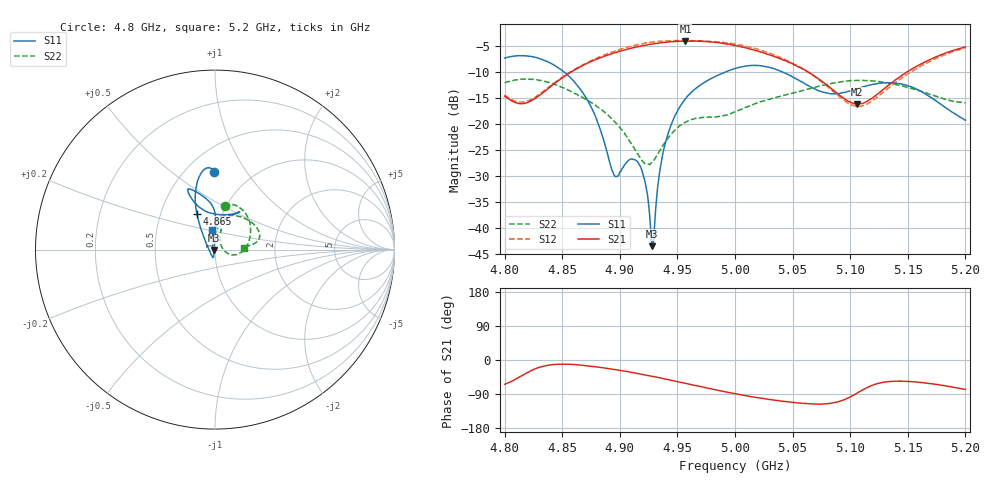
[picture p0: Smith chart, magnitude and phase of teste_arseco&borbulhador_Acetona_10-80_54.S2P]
! Network Analyzer HP8722D
! Hewlett-Packard
! Data name: Linha & Wilkinson
! Saver's name: Rodrigo Anjos
! Comments: Teste da utilização de aquisição
! continua pelo VNA HP8722D
! Time and date: 25/4/2025 15:43
!  Frequency  S11  S21  S12  S22
# HZ  S  MA R 50
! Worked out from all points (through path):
!   401 points, 4.8 GHz to 5.2 GHz, reference 50 ohm
!   highest |S21| = -3.95 dB at 4.957 GHz (marker M1); lowest = -16.1 dB at 5.106 GHz (marker M2)
!   lowest |S11| = -43.6 dB at 4.928 GHz (marker M3), VSWR 1.01, Z = 49.4 - j0.255 ohm
!   |S11| at or under -10 dB: 4.852 GHz to 4.991 GHz (139 MHz wide, 2.82 % of centre); 5.042 GHz to end of sweep
!   |S22| runs from -27.8 to -11.3 dB; largest |S21 - S12| = 1.2
!   S11 on the Smith chart (normalised r, x): 4.8 GHz: 0.68, +0.73; 4.865 GHz: 0.76, +0.32; 5.2 GHz: 0.94, +0.20
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4.8e9  0.4344 90.6  0.1865 -64.1  0.1914 69.5  0.25 77.3
4.821e9  0.4526 97.1  0.1637 -31.0  0.1685 99.6  0.2707 61.2
4.845e9  0.3592 107.1  0.2552 -11.4  0.2584 119.4  0.239 34.1
4.865e9  0.2229 116.8  0.3542 -13.1  0.3581 120.8  0.1881 10.9
4.867e9  0.2078 118.0  0.364 -13.9  0.3678 120.7  0.1827 8.6
4.88e9  0.1099 128.4  0.4234 -18.4  0.4335 118.3  0.1484 -5.2
4.895e9  0.03228 -172.3  0.4868 -24.8  0.5016 113.7  0.1069 -16.1
4.909e9  0.04588 -105.2  0.5369 -32.1  0.5614 107.6  0.06691 -14.7
4.917e9  0.04041 -100.6  0.5637 -36.4  0.5898 103.7  0.04878 -1.8
4.923e9  0.02408 -106.5  0.5786 -39.9  0.6073 100.0  0.04107 19.6
4.928e9  0.006641 -157.1  0.5924 -42.8  0.6172 97.2  0.04264 40.5
4.93e9  0.009826 123.7  0.597 -44.2  0.6207 95.8  0.04552 47.8
4.934e9  0.031 98.6  0.6051 -46.8  0.6294 93.3  0.05386 58.8
4.943e9  0.08801 90.2  0.6215 -52.4  0.6371 87.6  0.07605 69.4
4.957e9  0.1759 89.2  0.6346 -61.5  0.6413 78.6  0.1047 71.9
5e9  0.3439 109.0  0.5732 -89.0  0.5931 50.9  0.131 88.8
5.03e9  0.3523 115.0  0.4663 -104.1  0.4826 33.9  0.1736 85.6
5.067e9  0.2249 105.1  0.3024 -115.9  0.2997 23.5  0.2232 57.4
5.106e9  0.219 64.2  0.1562 -87.2  0.1486 55.7  0.2633 25.0
5.134e9  0.2502 56.7  0.2408 -56.8  0.2265 88.6  0.2478 12.4
5.168e9  0.1873 68.6  0.4135 -61.8  0.3972 85.3  0.1956 7.0
5.2e9  0.1093 100.2  0.5563 -77.5  0.5462 70.3  0.1607 3.9
